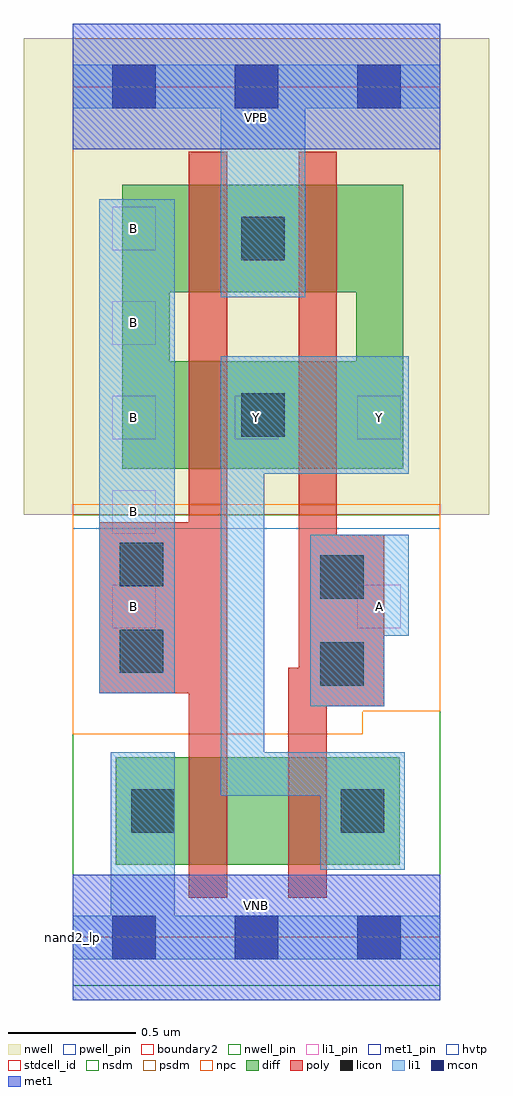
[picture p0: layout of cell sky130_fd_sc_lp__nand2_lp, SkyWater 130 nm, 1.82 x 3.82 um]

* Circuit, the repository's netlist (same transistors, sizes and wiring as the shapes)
* Copyright 2020 The SkyWater PDK Authors
*
* Licensed under the Apache License, Version 2.0 (the "License");
* you may not use this file except in compliance with the License.
* You may obtain a copy of the License at
*
*     https://www.apache.org/licenses/LICENSE-2.0
*
* Unless required by applicable law or agreed to in writing, software
* distributed under the License is distributed on an "AS IS" BASIS,
* WITHOUT WARRANTIES OR CONDITIONS OF ANY KIND, either express or implied.
* See the License for the specific language governing permissions and
* limitations under the License.
*
* SPDX-License-Identifier: Apache-2.0

.SUBCKT sky130_fd_sc_lp__nand2_lp A B VGND VNB VPB VPWR Y
*.PININFO A:I B:I VGND:I VNB:I VPB:I VPWR:I Y:O
MMN1 sndA B VGND VNB sky130_fd_pr__nfet_01v8 m=1 w=0.42U l=0.15U mult=1 sa=0.265
+ sb=0.265 sd=0.28 area=0.063 perim=1.14
MMN0 Y A sndA VNB sky130_fd_pr__nfet_01v8 m=1 w=0.42U l=0.15U mult=1 sa=0.265 sb=0.265
+ sd=0.28 area=0.063 perim=1.14
MMP0 Y A net37 VPB sky130_fd_pr__pfet_01v8_hvt m=1 w=0.42U l=0.15U mult=1 sa=0.265
+ sb=0.265 sd=0.28 area=0.063 perim=1.14
MMP1 Y B net33 VPB sky130_fd_pr__pfet_01v8_hvt m=1 w=0.42U l=0.15U mult=1 sa=0.265
+ sb=0.265 sd=0.28 area=0.063 perim=1.14
MI8 net33 B VPWR VPB sky130_fd_pr__pfet_01v8_hvt m=1 w=0.42U l=0.15U mult=1 sa=0.265
+ sb=0.265 sd=0.28 area=0.063 perim=1.14
MI7 net37 A VPWR VPB sky130_fd_pr__pfet_01v8_hvt m=1 w=0.42U l=0.15U mult=1 sa=0.265
+ sb=0.265 sd=0.28 area=0.063 perim=1.14
.ENDS sky130_fd_sc_lp__nand2_lp

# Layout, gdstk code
import gdstk
lib = gdstk.Library(unit=1e-6, precision=1e-09)
def R(c, l, rs):  # rectangles x0, y0, x1, y1
    for r in rs: c.add(gdstk.rectangle(r[:2], r[2:], *l))
def A(c, l, x, y, w, h, nx, ny, dx, dy):  # array of equal rectangles
    R(c, l, [(x+i*dx, y+j*dy, x+i*dx+w, y+j*dy+h) for i in range(nx) for j in range(ny)])
def P(c, l, *ps):  # polygons
    for p in ps: c.add(gdstk.Polygon(p, *l))
nwell_pin = (64, 16)
nwell = (64, 20)
diff = (65, 20)
poly = (66, 20)
licon = (66, 44)
li1_pin = (67, 16)
li1 = (67, 20)
mcon = (67, 44)
met1_pin = (68, 16)
met1 = (68, 20)
hvtp = (78, 44)
stdcell_id = (81, 4)
nsdm = (93, 44)
psdm = (94, 20)
npc = (95, 20)
pwell_pin = (122, 16)
boundary2 = (236, 0)

sky130_fd_sc_lp__nand2_l = lib.new_cell('sky130_fd_sc_lp__nand2_lp')
R(sky130_fd_sc_lp__nand2_l, nwell_pin, [(0,3.085,1.44,3.33)])
R(sky130_fd_sc_lp__nand2_l, nwell, [(-0.19,1.655,1.63,3.52)])
R(sky130_fd_sc_lp__nand2_l, diff, [(0.17,0.285,1.28,0.705)])
P(sky130_fd_sc_lp__nand2_l, diff, [(1.295,2.525),(1.11,2.525),(1.11,2.255),(0.38,2.255),(0.38,2.525),(1.295,2.525),(1.295,2.945),(0.195,2.945),(0.195,1.835),(1.295,1.835)])
P(sky130_fd_sc_lp__nand2_l, poly, [(0.605,3.075),(0.455,3.075),(0.455,1.625),(0.105,1.625),(0.105,0.955),(0.455,0.955),(0.455,0.155),(0.605,0.155)],
  [(1.22,1.575),(1.035,1.575),(1.035,3.075),(0.885,3.075),(0.885,1.055),(0.845,1.055),(0.845,0.155),(0.995,0.155),(0.995,0.905),(1.22,0.905)])
R(sky130_fd_sc_lp__nand2_l, licon, [(0.23,0.41,0.4,0.58), (1.05,0.41,1.22,0.58), (0.97,0.985,1.14,1.155), (0.185,1.035,0.355,1.205), (0.97,1.325,1.14,1.495), (0.185,1.375,0.355,1.545), (0.66,1.96,0.83,2.13), (0.66,2.65,0.83,2.82)])
A(sky130_fd_sc_lp__nand2_l, li1_pin, 0.155, 1.95, 0.17, 0.17, 3, 1, 0.48, 0)
R(sky130_fd_sc_lp__nand2_l, li1_pin, [(0.155,1.21,0.325,1.38), (1.115,1.21,1.285,1.38), (0.155,1.58,0.325,1.75), (0.155,2.32,0.325,2.49), (0.155,2.69,0.325,2.86)])
R(sky130_fd_sc_lp__nand2_l, li1, [(0.105,0.955,0.4,2.89)])
P(sky130_fd_sc_lp__nand2_l, li1, [(0.58,2.505),(0.58,3.245),(0,3.245),(0,3.415),(1.44,3.415),(1.44,3.245),(0.91,3.245),(0.91,2.505)],
  [(0.15,0.085),(0.15,0.725),(0.4,0.725),(0.4,0.085),(1.44,0.085),(1.44,-0.085),(0,-0.085),(0,0.085)],
  [(0.93,0.905),(0.93,1.575),(1.315,1.575),(1.315,1.18),(1.22,1.18),(1.22,0.905)],
  [(0.58,0.555),(0.58,2.275),(1.315,2.275),(1.315,1.815),(0.75,1.815),(0.75,0.725),(1.3,0.725),(1.3,0.265),(0.97,0.265),(0.97,0.555)])
A(sky130_fd_sc_lp__nand2_l, mcon, 0.155, -0.085, 0.17, 0.17, 3, 2, 0.48, 3.33)
R(sky130_fd_sc_lp__nand2_l, met1_pin, [(0,0,1.44,0.245), (0,3.085,1.44,3.33)])
R(sky130_fd_sc_lp__nand2_l, met1, [(0,-0.245,1.44,0.245), (0,3.085,1.44,3.575)])
R(sky130_fd_sc_lp__nand2_l, hvtp, [(0,1.6,1.44,3.33)])
R(sky130_fd_sc_lp__nand2_l, stdcell_id, [(0,0,1.44,3.33)])
R(sky130_fd_sc_lp__nand2_l, nsdm, [(0,-0.19,1.44,1.655)])
R(sky130_fd_sc_lp__nand2_l, psdm, [(0,1.655,1.44,3.52)])
P(sky130_fd_sc_lp__nand2_l, npc, [(1.44,1.695),(0,1.695),(0,0.795),(1.135,0.795),(1.135,0.885),(1.44,0.885)])
R(sky130_fd_sc_lp__nand2_l, pwell_pin, [(0,0,1.44,0.245)])
R(sky130_fd_sc_lp__nand2_l, boundary2, [(0,0,1.44,3.33)])
sky130_fd_sc_lp__nand2_l.add(gdstk.Label('VNB', (0.72,0.123), layer=64, texttype=59))
sky130_fd_sc_lp__nand2_l.add(gdstk.Label('VPB', (0.72,3.208), layer=64, texttype=5))
sky130_fd_sc_lp__nand2_l.add(gdstk.Label('nand2_lp', (0,0), layer=83, texttype=44))
sky130_fd_sc_lp__nand2_l.add(gdstk.Label('VPWR', (0.72,3.208), layer=68, texttype=5))
sky130_fd_sc_lp__nand2_l.add(gdstk.Label('VGND', (0.72,0.123), layer=68, texttype=5))
sky130_fd_sc_lp__nand2_l.add(gdstk.Label('B', (0.24,1.295), layer=67, texttype=5))
sky130_fd_sc_lp__nand2_l.add(gdstk.Label('B', (0.24,1.665), layer=67, texttype=5))
sky130_fd_sc_lp__nand2_l.add(gdstk.Label('B', (0.24,2.035), layer=67, texttype=5))
sky130_fd_sc_lp__nand2_l.add(gdstk.Label('B', (0.24,2.405), layer=67, texttype=5))
sky130_fd_sc_lp__nand2_l.add(gdstk.Label('B', (0.24,2.775), layer=67, texttype=5))
sky130_fd_sc_lp__nand2_l.add(gdstk.Label('A', (1.2,1.295), layer=67, texttype=5))
sky130_fd_sc_lp__nand2_l.add(gdstk.Label('Y', (0.72,2.035), layer=67, texttype=5))
sky130_fd_sc_lp__nand2_l.add(gdstk.Label('Y', (1.2,2.035), layer=67, texttype=5))

lib.write_gds('sky130_fd_sc_lp__nand2_lp.gds')
